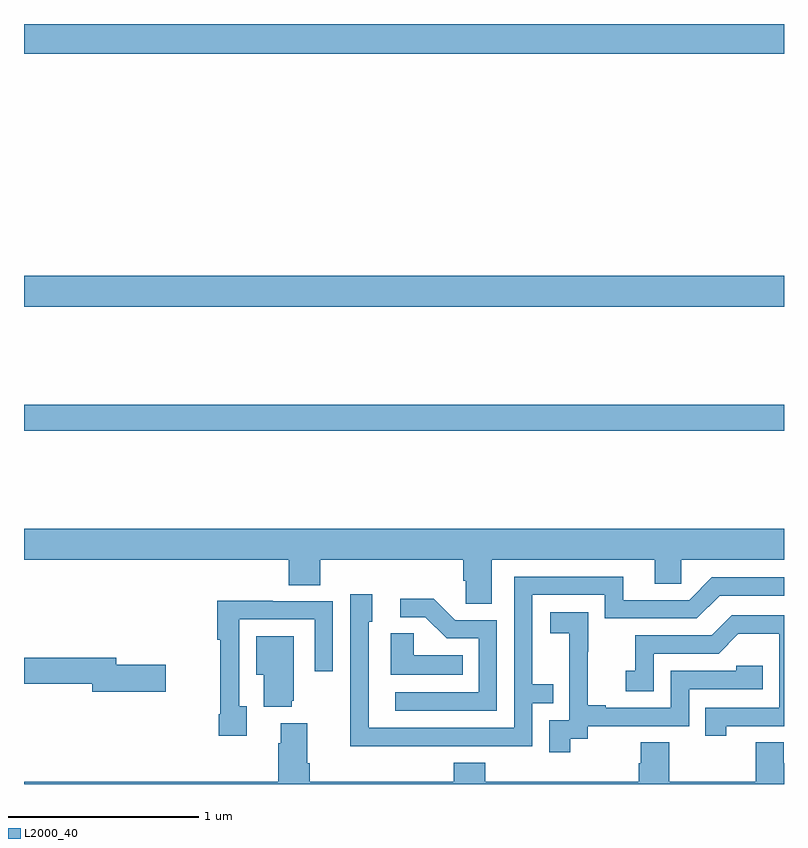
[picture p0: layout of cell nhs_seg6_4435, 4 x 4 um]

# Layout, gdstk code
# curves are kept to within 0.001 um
import gdstk
lib = gdstk.Library(unit=1e-6, precision=1e-09)
def R(c, l, rs):  # rectangles x0, y0, x1, y1
    for r in rs: c.add(gdstk.rectangle(r[:2], r[2:], *l))
def P(c, l, *ps):  # polygons
    for p in ps: c.add(gdstk.Polygon(p, *l))
L2000_40 = (2000, 40)

nhs_seg6_4435 = lib.new_cell('nhs_seg6_4435')
R(nhs_seg6_4435, L2000_40, [(373,937.36,377,937.496), (373,938.012,377,938.176), (373,939.344,377,939.5)])
P(nhs_seg6_4435, L2000_40, [(375.463,936.68),(376.319,936.68),(376.319,936.553),(376.458,936.553),(376.458,936.68),(377,936.68),(377,936.844),(373,936.844),(373,936.68),(374.393,936.68),(374.393,936.547),(374.558,936.547),(374.558,936.68),(375.311,936.68),(375.311,936.571),(375.324,936.571),(375.324,936.448),(375.463,936.448)],
  [(375.179,935.7),(375.675,935.7),(375.675,935.925),(375.785,935.925),(375.785,936.026),(375.675,936.026),(375.675,936.495),(376.056,936.495),(376.056,936.372),(376.542,936.372),(376.662,936.492),(377,936.492),(377,936.588),(376.62,936.588),(376.5,936.468),(376.153,936.468),(376.153,936.591),(375.579,936.591),(375.579,935.796),(374.814,935.796),(374.814,936.354),(374.833,936.354),(374.833,936.499),(374.718,936.499),(374.718,936.005),(374.716,936.005),(374.716,935.699)],
  [(375.489,936.363),(375.27,936.363),(375.157,936.476),(374.979,936.476),(374.979,936.378),(375.113,936.378),(375.224,936.267),(375.393,936.267),(375.393,935.982),(374.955,935.982),(374.955,935.886),(375.489,935.886)],
  [(374.173,935.91),(374.133,935.91),(374.133,936.366),(374.529,936.366),(374.529,936.093),(374.625,936.093),(374.625,936.462),(374.309,936.462),(374.309,936.464),(374.017,936.464),(374.017,936.259),(374.032,936.259),(374.032,935.866),(374.025,935.866),(374.025,935.754),(374.173,935.754)],
  [(375.874,935.737),(375.966,935.737),(375.966,935.805),(376.5,935.805),(376.5,936),(376.889,936),(376.889,936.123),(376.749,936.123),(376.749,936.096),(376.404,936.096),(376.404,935.901),(376.063,935.901),(376.063,935.914),(375.968,935.914),(375.968,936.197),(375.969,936.197),(375.969,936.403),(375.771,936.403),(375.771,936.293),(375.869,936.293),(375.869,936.065),(375.87,936.065),(375.87,935.835),(375.765,935.835),(375.765,935.667),(375.874,935.667)],
  [(376.696,935.805),(377,935.805),(377,936.387),(376.724,936.387),(376.619,936.282),(376.216,936.282),(376.216,936.097),(376.167,936.097),(376.167,935.988),(376.314,935.988),(376.314,936.186),(376.656,936.186),(376.76,936.29),(376.974,936.29),(376.974,935.901),(376.585,935.901),(376.585,935.754),(376.696,935.754)],
  [(375.308,936.178),(375.051,936.178),(375.051,936.293),(374.93,936.293),(374.93,936.074),(375.308,936.074)],
  [(374.408,935.937),(374.419,935.937),(374.419,936.277),(374.222,936.277),(374.222,936.074),(374.261,936.074),(374.261,935.906),(374.408,935.906)],
  [(373.747,936.128),(373.486,936.128),(373.486,936.164),(373,936.164),(373,936.028),(373.358,936.028),(373.358,935.986),(373.747,935.986)],
  [(377,935.61),(376.999,935.61),(376.999,935.72),(376.852,935.72),(376.852,935.512),(376.395,935.512),(376.395,935.72),(376.247,935.72),(376.247,935.61),(376.235,935.61),(376.235,935.512),(375.428,935.512),(375.428,935.611),(375.263,935.611),(375.263,935.512),(374.504,935.512),(374.504,935.608),(374.491,935.608),(374.491,935.821),(374.351,935.821),(374.351,935.714),(374.339,935.714),(374.339,935.512),(373,935.512),(373,935.5),(377,935.5)])

lib.write_gds('nhs_seg6_4435.gds')
